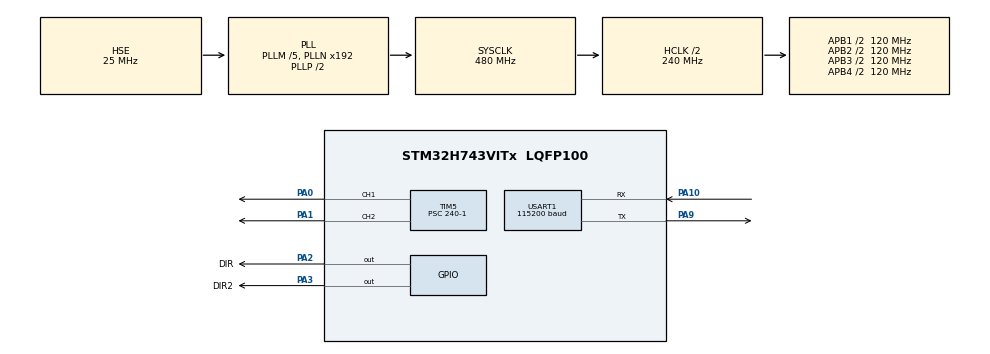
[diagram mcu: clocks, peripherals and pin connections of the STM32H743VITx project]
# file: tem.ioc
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CORTEX_M7.AccessPermission-Cortex_Memory_Protection_Unit_Region0_Settings=MPU_REGION_FULL_ACCESS
CORTEX_M7.AccessPermission-Cortex_Memory_Protection_Unit_Region1_Settings=MPU_REGION_FULL_ACCESS
CORTEX_M7.AccessPermission-Cortex_Memory_Protection_Unit_Region2_Settings=MPU_REGION_FULL_ACCESS
CORTEX_M7.AccessPermission-Cortex_Memory_Protection_Unit_Region3_Settings=MPU_REGION_FULL_ACCESS
CORTEX_M7.AccessPermission-Cortex_Memory_Protection_Unit_Region4_Settings=MPU_REGION_FULL_ACCESS
CORTEX_M7.BaseAddress-Cortex_Memory_Protection_Unit_Region0_Settings=0x24000000
CORTEX_M7.BaseAddress-Cortex_Memory_Protection_Unit_Region1_Settings=0x30000000
CORTEX_M7.BaseAddress-Cortex_Memory_Protection_Unit_Region2_Settings=0x30020000
CORTEX_M7.BaseAddress-Cortex_Memory_Protection_Unit_Region3_Settings=0x30040000
CORTEX_M7.BaseAddress-Cortex_Memory_Protection_Unit_Region4_Settings=0x38000000
CORTEX_M7.CPU_DCache=Enabled
CORTEX_M7.CPU_ICache=Enabled
CORTEX_M7.Enable-Cortex_Memory_Protection_Unit_Region0_Settings=MPU_REGION_ENABLE
CORTEX_M7.Enable-Cortex_Memory_Protection_Unit_Region1_Settings=MPU_REGION_ENABLE
CORTEX_M7.Enable-Cortex_Memory_Protection_Unit_Region2_Settings=MPU_REGION_ENABLE
CORTEX_M7.Enable-Cortex_Memory_Protection_Unit_Region3_Settings=MPU_REGION_ENABLE
CORTEX_M7.Enable-Cortex_Memory_Protection_Unit_Region4_Settings=MPU_REGION_ENABLE
CORTEX_M7.IsBufferable-Cortex_Memory_Protection_Unit_Region0_Settings=MPU_ACCESS_BUFFERABLE
CORTEX_M7.IsCacheable-Cortex_Memory_Protection_Unit_Region0_Settings=MPU_ACCESS_CACHEABLE
CORTEX_M7.MPU_Control=MPU_PRIVILEGED_DEFAULT
CORTEX_M7.Size-Cortex_Memory_Protection_Unit_Region0_Settings=MPU_REGION_SIZE_512KB
CORTEX_M7.Size-Cortex_Memory_Protection_Unit_Region1_Settings=MPU_REGION_SIZE_128KB
CORTEX_M7.Size-Cortex_Memory_Protection_Unit_Region2_Settings=MPU_REGION_SIZE_128KB
CORTEX_M7.Size-Cortex_Memory_Protection_Unit_Region3_Settings=MPU_REGION_SIZE_32KB
CORTEX_M7.Size-Cortex_Memory_Protection_Unit_Region4_Settings=MPU_REGION_SIZE_64KB
CORTEX_M7.TypeExtField-Cortex_Memory_Protection_Unit_Region0_Settings=MPU_TEX_LEVEL1
CORTEX_M7.TypeExtField-Cortex_Memory_Protection_Unit_Region1_Settings=MPU_TEX_LEVEL1
CORTEX_M7.TypeExtField-Cortex_Memory_Protection_Unit_Region2_Settings=MPU_TEX_LEVEL1
CORTEX_M7.TypeExtField-Cortex_Memory_Protection_Unit_Region3_Settings=MPU_TEX_LEVEL1
CORTEX_M7.TypeExtField-Cortex_Memory_Protection_Unit_Region4_Settings=MPU_TEX_LEVEL1
Mcu.Family=STM32H7
Mcu.Name=STM32H743VITx
Mcu.Package=LQFP100
NVIC.PriorityGroup=NVIC_PRIORITYGROUP_4
NVIC.TIM7_IRQn=true\:0\:0\:false\:false\:true\:true\:true\:true
NVIC.USART1_IRQn=true\:0\:0\:false\:false\:true\:true\:true\:true
PA0.Signal=S_TIM5_CH1
PA1.Signal=S_TIM5_CH2
PA10.Mode=Asynchronous
PA10.Signal=USART1_RX
PA13\ (JTMS/SWDIO).Mode=Serial_Wire
PA13\ (JTMS/SWDIO).Signal=DEBUG_JTMS-SWDIO
PA14\ (JTCK/SWCLK).Mode=Serial_Wire
PA14\ (JTCK/SWCLK).Signal=DEBUG_JTCK-SWCLK
PA2.GPIO_Label=DIR
PA2.Signal=GPIO_Output
PA3.GPIO_Label=DIR2
PA3.Signal=GPIO_Output
PA9.Mode=Asynchronous
PA9.Signal=USART1_TX
PH0-OSC_IN\ (PH0).Mode=HSE-External-Oscillator
PH0-OSC_IN\ (PH0).Signal=RCC_OSC_IN
PH1-OSC_OUT\ (PH1).Mode=HSE-External-Oscillator
PH1-OSC_OUT\ (PH1).Signal=RCC_OSC_OUT
ProjectManager.HeapSize=0x10000
ProjectManager.StackSize=0x7400
ProjectManager.TargetToolchain=MDK-ARM V5.32
RCC.ADCFreq_Value=50390625
RCC.APB1Freq_Value=120000000
RCC.APB2Freq_Value=120000000
RCC.APB3Freq_Value=120000000
RCC.APB4Freq_Value=120000000
RCC.CortexFreq_Value=480000000
RCC.D1PPRE=RCC_APB3_DIV2
RCC.D2PPRE1=RCC_APB1_DIV2
RCC.D2PPRE2=RCC_APB2_DIV2
RCC.D3PPRE=RCC_APB4_DIV2
RCC.DIVM1=5
RCC.DIVN1=192
RCC.HCLKFreq_Value=240000000
RCC.HPRE=RCC_HCLK_DIV2
RCC.HSE_VALUE=25000000
RCC.PLLSourceVirtual=RCC_PLLSOURCE_HSE
RCC.PWR_Regulator_Voltage_Scale=PWR_REGULATOR_VOLTAGE_SCALE0
RCC.ProductRev=revV
RCC.SYSCLKFreq_VALUE=480000000
RCC.SYSCLKSource=RCC_SYSCLKSOURCE_PLLCLK
RCC.USBFreq_Value=480000000
SH.S_TIM5_CH1.0=TIM5_CH1,PWM Generation1 CH1
SH.S_TIM5_CH2.0=TIM5_CH2,PWM Generation2 CH2
TIM5.Channel-PWM\ Generation1\ CH1=TIM_CHANNEL_1
TIM5.Channel-PWM\ Generation2\ CH2=TIM_CHANNEL_2
TIM5.Period=1000-1
TIM5.Prescaler=240-1
TIM5.Pulse-PWM\ Generation1\ CH1=500
TIM5.Pulse-PWM\ Generation2\ CH2=500
TIM6.Prescaler=240-1
TIM7.Prescaler=239
USART1.BaudRate=115200
USART1.VirtualMode-Asynchronous=VM_ASYNC
VP_TIM5_VS_ClockSourceINT.Mode=Internal
VP_TIM6_VS_ClockSourceINT.Mode=Enable_Timer
VP_TIM7_VS_ClockSourceINT.Mode=Enable_Timer
board=custom

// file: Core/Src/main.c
/* USER CODE BEGIN Header */
/**
  ******************************************************************************
  * @file           : main.c
  * @brief          : Main program body
  ******************************************************************************
  * @attention
  *
  * Copyright (c) 2025 STMicroelectronics.
  * All rights reserved.
  *
  * This software is licensed under terms that can be found in the LICENSE file
  * in the root directory of this software component.
  * If no LICENSE file comes with this software, it is provided AS-IS.
  *
  ******************************************************************************
  */
/* USER CODE END Header */
#include "main.h"
#include "tim.h"
#include "usart.h"
#include "gpio.h"

/* USER CODE BEGIN Includes */
#include "SMotor.h"
#include "Init_SMotor.h"
#include "Laser.h"
#include "Cont_SMotor.h"
#include "stdbool.h"
/* USER CODE END Includes */

void SystemClock_Config(void);
static void MPU_Initialize(void);
static void MPU_Config(void);

/* USER CODE BEGIN 0 */
extern uint8_t USART_LASER_RX_BUF[] ;
extern int Laser_Loc[] ;

// ��������
int error;
#ifdef SMOTOR_DEBUG
extern bool is_updated; // 是否更新了数据
#endif

/* USER CODE END 0 */

int main(void)
{

  /* Enable I-Cache---------------------------------------------------------*/
  SCB_EnableICache();

  /* Enable D-Cache---------------------------------------------------------*/
  SCB_EnableDCache();

  /* MCU Configuration--------------------------------------------------------*/

  /* Reset of all peripherals, Initializes the Flash interface and the Systick. */
  HAL_Init();

  /* MPU Configuration--------------------------------------------------------*/
  MPU_Config();

  /* Configure the system clock */
  SystemClock_Config();

  /* Initialize all configured peripherals */
  MX_GPIO_Init();
  MX_TIM7_Init();
  MX_USART1_UART_Init();
  MX_TIM5_Init();
  MX_TIM6_Init();
  /* USER CODE BEGIN 2 */
  YP_SMotor_Init();
	YP_SMotor_SetSpeed(-20, 20);
  HAL_UARTEx_ReceiveToIdle_IT(&HUART_LASER, USART_LASER_RX_BUF, USART_LASER_RX_BUF_LEN);
  #ifdef SMOTOR_DEBUG
  is_updated = true; // 初始化数据未更新标志
  #endif
  /* USER CODE END 2 */

  /* Infinite loop */
  /* USER CODE BEGIN WHILE */
   while (1)
  {
		//PID_SMotor_Cont();
    /* USER CODE END WHILE */

  }
}

void SystemClock_Config(void)
{
  RCC_OscInitTypeDef RCC_OscInitStruct = {0};
  RCC_ClkInitTypeDef RCC_ClkInitStruct = {0};

  /** Supply configuration update enable
  */
  HAL_PWREx_ConfigSupply(PWR_LDO_SUPPLY);

  /** Configure the main internal regulator output voltage
  */
  __HAL_PWR_VOLTAGESCALING_CONFIG(PWR_REGULATOR_VOLTAGE_SCALE1);

  while(!__HAL_PWR_GET_FLAG(PWR_FLAG_VOSRDY)) {}

  __HAL_RCC_SYSCFG_CLK_ENABLE();
  __HAL_PWR_VOLTAGESCALING_CONFIG(PWR_REGULATOR_VOLTAGE_SCALE0);

  while(!__HAL_PWR_GET_FLAG(PWR_FLAG_VOSRDY)) {}

  /** Initializes the RCC Oscillators according to the specified parameters
  * in the RCC_OscInitTypeDef structure.
  */
  RCC_OscInitStruct.OscillatorType = RCC_OSCILLATORTYPE_HSE;
  RCC_OscInitStruct.HSEState = RCC_HSE_ON;
  RCC_OscInitStruct.PLL.PLLState = RCC_PLL_ON;
  RCC_OscInitStruct.PLL.PLLSource = RCC_PLLSOURCE_HSE;
  RCC_OscInitStruct.PLL.PLLM = 5;
  RCC_OscInitStruct.PLL.PLLN = 192;
  RCC_OscInitStruct.PLL.PLLP = 2;
  RCC_OscInitStruct.PLL.PLLQ = 2;
  RCC_OscInitStruct.PLL.PLLR = 2;
  RCC_OscInitStruct.PLL.PLLRGE = RCC_PLL1VCIRANGE_2;
  RCC_OscInitStruct.PLL.PLLVCOSEL = RCC_PLL1VCOWIDE;
  RCC_OscInitStruct.PLL.PLLFRACN = 0;
  if (HAL_RCC_OscConfig(&RCC_OscInitStruct) != HAL_OK)
  {
    Error_Handler();
  }

  /** Initializes the CPU, AHB and APB buses clocks
  */
  RCC_ClkInitStruct.ClockType = RCC_CLOCKTYPE_HCLK|RCC_CLOCKTYPE_SYSCLK
                              |RCC_CLOCKTYPE_PCLK1|RCC_CLOCKTYPE_PCLK2
                              |RCC_CLOCKTYPE_D3PCLK1|RCC_CLOCKTYPE_D1PCLK1;
  RCC_ClkInitStruct.SYSCLKSource = RCC_SYSCLKSOURCE_PLLCLK;
  RCC_ClkInitStruct.SYSCLKDivider = RCC_SYSCLK_DIV1;
  RCC_ClkInitStruct.AHBCLKDivider = RCC_HCLK_DIV2;
  RCC_ClkInitStruct.APB3CLKDivider = RCC_APB3_DIV2;
  RCC_ClkInitStruct.APB1CLKDivider = RCC_APB1_DIV2;
  RCC_ClkInitStruct.APB2CLKDivider = RCC_APB2_DIV2;
  RCC_ClkInitStruct.APB4CLKDivider = RCC_APB4_DIV2;

  if (HAL_RCC_ClockConfig(&RCC_ClkInitStruct, FLASH_LATENCY_4) != HAL_OK)
  {
    Error_Handler();
  }
}

/* USER CODE BEGIN 4 */
void HAL_UARTEx_RxEventCallback(UART_HandleTypeDef *huart, uint16_t Size)
{
	Laser_Mode(USART_LASER_RX_BUF , huart) ;
}

/* USER CODE END 4 */

/* MPU Configuration */

void MPU_Config(void)
{
  MPU_Region_InitTypeDef MPU_InitStruct = {0};

  /* Disables the MPU */
  HAL_MPU_Disable();

  /** Initializes and configures the Region and the memory to be protected
  */
  MPU_InitStruct.Enable = MPU_REGION_ENABLE;
  MPU_InitStruct.Number = MPU_REGION_NUMBER0;
  MPU_InitStruct.BaseAddress = 0x24000000;
  MPU_InitStruct.Size = MPU_REGION_SIZE_512KB;
  MPU_InitStruct.SubRegionDisable = 0x0;
  MPU_InitStruct.TypeExtField = MPU_TEX_LEVEL1;
  MPU_InitStruct.AccessPermission = MPU_REGION_FULL_ACCESS;
  MPU_InitStruct.DisableExec = MPU_INSTRUCTION_ACCESS_ENABLE;
  MPU_InitStruct.IsShareable = MPU_ACCESS_NOT_SHAREABLE;
  MPU_InitStruct.IsCacheable = MPU_ACCESS_CACHEABLE;
  MPU_InitStruct.IsBufferable = MPU_ACCESS_BUFFERABLE;

  HAL_MPU_ConfigRegion(&MPU_InitStruct);

  /** Initializes and configures the Region and the memory to be protected
  */
  MPU_InitStruct.Number = MPU_REGION_NUMBER1;
  MPU_InitStruct.BaseAddress = 0x30000000;
  MPU_InitStruct.Size = MPU_REGION_SIZE_128KB;
  MPU_InitStruct.IsCacheable = MPU_ACCESS_NOT_CACHEABLE;
  MPU_InitStruct.IsBufferable = MPU_ACCESS_NOT_BUFFERABLE;

  HAL_MPU_ConfigRegion(&MPU_InitStruct);

  /** Initializes and configures the Region and the memory to be protected
  */
  MPU_InitStruct.Number = MPU_REGION_NUMBER2;
  MPU_InitStruct.BaseAddress = 0x30020000;

  HAL_MPU_ConfigRegion(&MPU_InitStruct);

  /** Initializes and configures the Region and the memory to be protected
  */
  MPU_InitStruct.Number = MPU_REGION_NUMBER3;
  MPU_InitStruct.BaseAddress = 0x30040000;
  MPU_InitStruct.Size = MPU_REGION_SIZE_32KB;

  HAL_MPU_ConfigRegion(&MPU_InitStruct);

  /** Initializes and configures the Region and the memory to be protected
  */
  MPU_InitStruct.Number = MPU_REGION_NUMBER4;
  MPU_InitStruct.BaseAddress = 0x38000000;
  MPU_InitStruct.Size = MPU_REGION_SIZE_64KB;

  HAL_MPU_ConfigRegion(&MPU_InitStruct);
  /* Enables the MPU */
  HAL_MPU_Enable(MPU_PRIVILEGED_DEFAULT);

}

void Error_Handler(void)
{
  __disable_irq();
  while (1)
  {
  }
}
